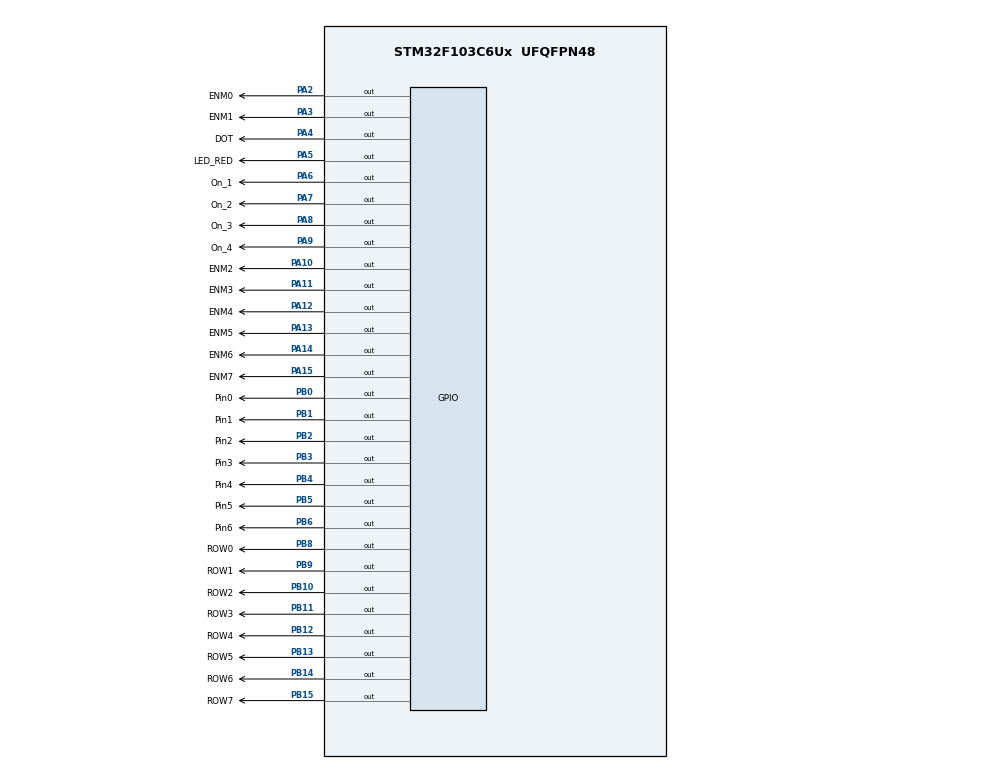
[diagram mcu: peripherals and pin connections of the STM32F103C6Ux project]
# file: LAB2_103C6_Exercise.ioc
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Mcu.Family=STM32F1
Mcu.Name=STM32F103C6Ux
Mcu.Package=UFQFPN48
NVIC.PriorityGroup=NVIC_PRIORITYGROUP_4
NVIC.TIM2_IRQn=true\:0\:0\:false\:false\:true\:true\:true
PA10.GPIO_Label=ENM2
PA10.Signal=GPIO_Output
PA11.GPIO_Label=ENM3
PA11.Signal=GPIO_Output
PA12.GPIO_Label=ENM4
PA12.Signal=GPIO_Output
PA13.GPIO_Label=ENM5
PA13.Signal=GPIO_Output
PA14.GPIO_Label=ENM6
PA14.Signal=GPIO_Output
PA15.GPIO_Label=ENM7
PA15.Signal=GPIO_Output
PA2.GPIO_Label=ENM0
PA2.Signal=GPIO_Output
PA3.GPIO_Label=ENM1
PA3.Signal=GPIO_Output
PA4.GPIO_Label=DOT
PA4.Signal=GPIO_Output
PA5.GPIO_Label=LED_RED
PA5.Signal=GPIO_Output
PA6.GPIO_Label=On_1
PA6.Signal=GPIO_Output
PA7.GPIO_Label=On_2
PA7.Signal=GPIO_Output
PA8.GPIO_Label=On_3
PA8.Signal=GPIO_Output
PA9.GPIO_Label=On_4
PA9.Signal=GPIO_Output
PB0.GPIO_Label=Pin0
PB0.Signal=GPIO_Output
PB1.GPIO_Label=Pin1
PB1.Signal=GPIO_Output
PB10.GPIO_Label=ROW2
PB10.Signal=GPIO_Output
PB11.GPIO_Label=ROW3
PB11.Signal=GPIO_Output
PB12.GPIO_Label=ROW4
PB12.Signal=GPIO_Output
PB13.GPIO_Label=ROW5
PB13.Signal=GPIO_Output
PB14.GPIO_Label=ROW6
PB14.Signal=GPIO_Output
PB15.GPIO_Label=ROW7
PB15.Signal=GPIO_Output
PB2.GPIO_Label=Pin2
PB2.Signal=GPIO_Output
PB3.GPIO_Label=Pin3
PB3.Signal=GPIO_Output
PB4.GPIO_Label=Pin4
PB4.Signal=GPIO_Output
PB5.GPIO_Label=Pin5
PB5.Signal=GPIO_Output
PB6.GPIO_Label=Pin6
PB6.Signal=GPIO_Output
PB8.GPIO_Label=ROW0
PB8.Signal=GPIO_Output
PB9.GPIO_Label=ROW1
PB9.Signal=GPIO_Output
ProjectManager.HeapSize=0x200
ProjectManager.StackSize=0x400
ProjectManager.TargetToolchain=STM32CubeIDE
RCC.APB1Freq_Value=8000000
RCC.APB2Freq_Value=8000000
TIM2.Period=9
TIM2.Prescaler=7999
VP_SYS_VS_ND.Mode=No_Debug
VP_TIM2_VS_ClockSourceINT.Mode=Internal
board=custom

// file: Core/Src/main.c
/* USER CODE BEGIN Header */
/**
  ******************************************************************************
  * @file           : main.c
  * @brief          : Main program body
  ******************************************************************************
  * @attention
  *
  * <h2><center>&copy; Copyright (c) 2023 STMicroelectronics.
  * All rights reserved.</center></h2>
  *
  * This software component is licensed by ST under BSD 3-Clause license,
  * the "License"; You may not use this file except in compliance with the
  * License. You may obtain a copy of the License at:
  *                        opensource.org/licenses/BSD-3-Clause
  *
  ******************************************************************************
  */
/* USER CODE END Header */
#include "main.h"

/* USER CODE BEGIN Includes */
#include "software_timer.h"
/* USER CODE END Includes */

TIM_HandleTypeDef htim2;

void SystemClock_Config(void);
static void MX_GPIO_Init(void);
static void MX_TIM2_Init(void);

/* USER CODE BEGIN 0 */
void display7SEG(int num){
	switch(num){
	case 0:
		HAL_GPIO_WritePin(Pin0_GPIO_Port, Pin0_Pin, RESET);
		HAL_GPIO_WritePin(Pin1_GPIO_Port, Pin1_Pin, RESET);
		HAL_GPIO_WritePin(Pin2_GPIO_Port, Pin2_Pin, RESET);
		HAL_GPIO_WritePin(Pin3_GPIO_Port, Pin3_Pin, RESET);
		HAL_GPIO_WritePin(Pin4_GPIO_Port, Pin4_Pin, RESET);
		HAL_GPIO_WritePin(Pin5_GPIO_Port, Pin5_Pin, RESET);
		HAL_GPIO_WritePin(Pin6_GPIO_Port, Pin6_Pin, SET);
		break;
	case 1:
		HAL_GPIO_WritePin(Pin0_GPIO_Port, Pin0_Pin, SET);
		HAL_GPIO_WritePin(Pin1_GPIO_Port, Pin1_Pin, RESET);
		HAL_GPIO_WritePin(Pin2_GPIO_Port, Pin2_Pin, RESET);
		HAL_GPIO_WritePin(Pin3_GPIO_Port, Pin3_Pin, SET);
		HAL_GPIO_WritePin(Pin4_GPIO_Port, Pin4_Pin, SET);
		HAL_GPIO_WritePin(Pin5_GPIO_Port, Pin5_Pin, SET);
		HAL_GPIO_WritePin(Pin6_GPIO_Port, Pin6_Pin, SET);
		break;
	case 2:
		HAL_GPIO_WritePin(Pin0_GPIO_Port, Pin0_Pin, RESET);
		HAL_GPIO_WritePin(Pin1_GPIO_Port, Pin1_Pin, RESET);
		HAL_GPIO_WritePin(Pin2_GPIO_Port, Pin2_Pin, SET);
		HAL_GPIO_WritePin(Pin3_GPIO_Port, Pin3_Pin, RESET);
		HAL_GPIO_WritePin(Pin4_GPIO_Port, Pin4_Pin, RESET);
		HAL_GPIO_WritePin(Pin5_GPIO_Port, Pin5_Pin, SET);
		HAL_GPIO_WritePin(Pin6_GPIO_Port, Pin6_Pin, RESET);
		break;
	case 3:
		HAL_GPIO_WritePin(Pin0_GPIO_Port, Pin0_Pin, RESET);
		HAL_GPIO_WritePin(Pin1_GPIO_Port, Pin1_Pin, RESET);
		HAL_GPIO_WritePin(Pin2_GPIO_Port, Pin2_Pin, RESET);
		HAL_GPIO_WritePin(Pin3_GPIO_Port, Pin3_Pin, RESET);
		HAL_GPIO_WritePin(Pin4_GPIO_Port, Pin4_Pin, SET);
		HAL_GPIO_WritePin(Pin5_GPIO_Port, Pin5_Pin, SET);
		HAL_GPIO_WritePin(Pin6_GPIO_Port, Pin6_Pin, RESET);
		break;
	case 4:
		HAL_GPIO_WritePin(Pin0_GPIO_Port, Pin0_Pin, SET);
		HAL_GPIO_WritePin(Pin1_GPIO_Port, Pin1_Pin, RESET);
		HAL_GPIO_WritePin(Pin2_GPIO_Port, Pin2_Pin, RESET);
		HAL_GPIO_WritePin(Pin3_GPIO_Port, Pin3_Pin, SET);
		HAL_GPIO_WritePin(Pin4_GPIO_Port, Pin4_Pin, SET);
		HAL_GPIO_WritePin(Pin5_GPIO_Port, Pin5_Pin, RESET);
		HAL_GPIO_WritePin(Pin6_GPIO_Port, Pin6_Pin, RESET);
		break;
	case 5:
		HAL_GPIO_WritePin(Pin0_GPIO_Port, Pin0_Pin, RESET);
		HAL_GPIO_WritePin(Pin1_GPIO_Port, Pin1_Pin, SET);
		HAL_GPIO_WritePin(Pin2_GPIO_Port, Pin2_Pin, RESET);
		HAL_GPIO_WritePin(Pin3_GPIO_Port, Pin3_Pin, RESET);
		HAL_GPIO_WritePin(Pin4_GPIO_Port, Pin4_Pin, SET);
		HAL_GPIO_WritePin(Pin5_GPIO_Port, Pin5_Pin, RESET);
		HAL_GPIO_WritePin(Pin6_GPIO_Port, Pin6_Pin, RESET);
		break;
	case 6:
		HAL_GPIO_WritePin(Pin0_GPIO_Port, Pin0_Pin, RESET);
		HAL_GPIO_WritePin(Pin1_GPIO_Port, Pin1_Pin, SET);
		HAL_GPIO_WritePin(Pin2_GPIO_Port, Pin2_Pin, RESET);
		HAL_GPIO_WritePin(Pin3_GPIO_Port, Pin3_Pin, RESET);
		HAL_GPIO_WritePin(Pin4_GPIO_Port, Pin4_Pin, RESET);
		HAL_GPIO_WritePin(Pin5_GPIO_Port, Pin5_Pin, RESET);
		HAL_GPIO_WritePin(Pin6_GPIO_Port, Pin6_Pin, RESET);
		break;
	case 7:
		HAL_GPIO_WritePin(Pin0_GPIO_Port, Pin0_Pin, RESET);
		HAL_GPIO_WritePin(Pin1_GPIO_Port, Pin1_Pin, RESET);
		HAL_GPIO_WritePin(Pin2_GPIO_Port, Pin2_Pin, RESET);
		HAL_GPIO_WritePin(Pin3_GPIO_Port, Pin3_Pin, SET);
		HAL_GPIO_WritePin(Pin4_GPIO_Port, Pin4_Pin, SET);
		HAL_GPIO_WritePin(Pin5_GPIO_Port, Pin5_Pin, SET);
		HAL_GPIO_WritePin(Pin6_GPIO_Port, Pin6_Pin, SET);
		break;
	case 8:
		HAL_GPIO_WritePin(Pin0_GPIO_Port, Pin0_Pin, RESET);
		HAL_GPIO_WritePin(Pin1_GPIO_Port, Pin1_Pin, RESET);
		HAL_GPIO_WritePin(Pin2_GPIO_Port, Pin2_Pin, RESET);
		HAL_GPIO_WritePin(Pin3_GPIO_Port, Pin3_Pin, RESET);
		HAL_GPIO_WritePin(Pin4_GPIO_Port, Pin4_Pin, RESET);
		HAL_GPIO_WritePin(Pin5_GPIO_Port, Pin5_Pin, RESET);
		HAL_GPIO_WritePin(Pin6_GPIO_Port, Pin6_Pin, RESET);
		break;
	case 9:
		HAL_GPIO_WritePin(Pin0_GPIO_Port, Pin0_Pin, RESET);
		HAL_GPIO_WritePin(Pin1_GPIO_Port, Pin1_Pin, RESET);
		HAL_GPIO_WritePin(Pin2_GPIO_Port, Pin2_Pin, RESET);
		HAL_GPIO_WritePin(Pin3_GPIO_Port, Pin3_Pin, RESET);
		HAL_GPIO_WritePin(Pin4_GPIO_Port, Pin4_Pin, SET);
		HAL_GPIO_WritePin(Pin5_GPIO_Port, Pin5_Pin, RESET);
		HAL_GPIO_WritePin(Pin6_GPIO_Port, Pin6_Pin, RESET);
		break;
	default:
		break;
	}
}
const int MAX_LED=4;
int index_led=0;
int led_buffer[4]={0,0,0,0};
void update7SEG(int index){
	switch(index){
		case 0:
			HAL_GPIO_WritePin(On_1_GPIO_Port, On_1_Pin, RESET);
			HAL_GPIO_WritePin(On_2_GPIO_Port, On_2_Pin, SET);
			HAL_GPIO_WritePin(On_3_GPIO_Port, On_3_Pin, SET);
			HAL_GPIO_WritePin(On_4_GPIO_Port, On_4_Pin, SET);
			break;
		case 1:
			HAL_GPIO_WritePin(On_1_GPIO_Port, On_1_Pin, SET);
			HAL_GPIO_WritePin(On_2_GPIO_Port, On_2_Pin, RESET);
			HAL_GPIO_WritePin(On_3_GPIO_Port, On_3_Pin, SET);
			HAL_GPIO_WritePin(On_4_GPIO_Port, On_4_Pin, SET);
			break;
		case 2:
			HAL_GPIO_WritePin(On_1_GPIO_Port, On_1_Pin, SET);
			HAL_GPIO_WritePin(On_2_GPIO_Port, On_2_Pin, SET);
			HAL_GPIO_WritePin(On_3_GPIO_Port, On_3_Pin, RESET);
			HAL_GPIO_WritePin(On_4_GPIO_Port, On_4_Pin, SET);
			break;
		case 3:
			HAL_GPIO_WritePin(On_1_GPIO_Port, On_1_Pin, SET);
			HAL_GPIO_WritePin(On_2_GPIO_Port, On_2_Pin, SET);
			HAL_GPIO_WritePin(On_3_GPIO_Port, On_3_Pin, SET);
			HAL_GPIO_WritePin(On_4_GPIO_Port, On_4_Pin, RESET);
			break;
		default:
			break;
	}
	display7SEG(led_buffer[index]);
}
void updateClockBuffer(int hour, int minute){
	//Update hour
	if(hour < 10){
		led_buffer[0]=0;
	} else led_buffer[0]=hour/10;
	led_buffer[1]=hour%10;

	//Update minute
	if(minute < 10){
		led_buffer[2]=0;
	} else led_buffer[2]=minute/10;
	led_buffer[3]=minute%10;
}
/* USER CODE END 0 */

int main(void)
{

  /* MCU Configuration--------------------------------------------------------*/

  /* Reset of all peripherals, Initializes the Flash interface and the Systick. */
  HAL_Init();

  /* Configure the system clock */
  SystemClock_Config();

  /* Initialize all configured peripherals */
  MX_GPIO_Init();
  MX_TIM2_Init();
  /* USER CODE BEGIN 2 */
  HAL_TIM_Base_Start_IT(&htim2);
  /* USER CODE END 2 */

  /* Infinite loop */
  /* USER CODE BEGIN WHILE */
  setTimer0(10);
  setTimer1(15);
  setTimer2(100);
  int hour=15, minute=8, second=50;
  while (1)
  {
    /* USER CODE END WHILE */

    /* USER CODE BEGIN 3 */
	  if(timer0_flag == 1){
		  if(second >= 60){
			  second=0;
			  minute++;
		  }
		  if(minute >= 60){
			  minute=0;
			  hour++;
		  }
		  if(hour >= 24){
			  hour=0;
		  }
		  second++;
		  updateClockBuffer(hour, minute);
		  setTimer0(100);
	  }
	  if(timer1_flag == 1){
		  update7SEG(index_led);
		  if(index_led >= 3){
			  index_led=0;
		  } else {
			  index_led++;
		  }
		  setTimer1(10);
	  }
	  if(timer2_flag == 1){
		  HAL_GPIO_TogglePin(DOT_GPIO_Port, DOT_Pin);
		  HAL_GPIO_TogglePin(LED_RED_GPIO_Port, LED_RED_Pin);
		  setTimer2(100);
	  }
  }
  /* USER CODE END 3 */
}

void SystemClock_Config(void)
{
  RCC_OscInitTypeDef RCC_OscInitStruct = {0};
  RCC_ClkInitTypeDef RCC_ClkInitStruct = {0};

  /** Initializes the RCC Oscillators according to the specified parameters
  * in the RCC_OscInitTypeDef structure.
  */
  RCC_OscInitStruct.OscillatorType = RCC_OSCILLATORTYPE_HSI;
  RCC_OscInitStruct.HSIState = RCC_HSI_ON;
  RCC_OscInitStruct.HSICalibrationValue = RCC_HSICALIBRATION_DEFAULT;
  RCC_OscInitStruct.PLL.PLLState = RCC_PLL_NONE;
  if (HAL_RCC_OscConfig(&RCC_OscInitStruct) != HAL_OK)
  {
    Error_Handler();
  }
  /** Initializes the CPU, AHB and APB buses clocks
  */
  RCC_ClkInitStruct.ClockType = RCC_CLOCKTYPE_HCLK|RCC_CLOCKTYPE_SYSCLK
                              |RCC_CLOCKTYPE_PCLK1|RCC_CLOCKTYPE_PCLK2;
  RCC_ClkInitStruct.SYSCLKSource = RCC_SYSCLKSOURCE_HSI;
  RCC_ClkInitStruct.AHBCLKDivider = RCC_SYSCLK_DIV1;
  RCC_ClkInitStruct.APB1CLKDivider = RCC_HCLK_DIV1;
  RCC_ClkInitStruct.APB2CLKDivider = RCC_HCLK_DIV1;

  if (HAL_RCC_ClockConfig(&RCC_ClkInitStruct, FLASH_LATENCY_0) != HAL_OK)
  {
    Error_Handler();
  }
}

static void MX_TIM2_Init(void)
{

  TIM_ClockConfigTypeDef sClockSourceConfig = {0};
  TIM_MasterConfigTypeDef sMasterConfig = {0};

  htim2.Instance = TIM2;
  htim2.Init.Prescaler = 7999;
  htim2.Init.CounterMode = TIM_COUNTERMODE_UP;
  htim2.Init.Period = 9;
  htim2.Init.ClockDivision = TIM_CLOCKDIVISION_DIV1;
  htim2.Init.AutoReloadPreload = TIM_AUTORELOAD_PRELOAD_DISABLE;
  if (HAL_TIM_Base_Init(&htim2) != HAL_OK)
  {
    Error_Handler();
  }
  sClockSourceConfig.ClockSource = TIM_CLOCKSOURCE_INTERNAL;
  if (HAL_TIM_ConfigClockSource(&htim2, &sClockSourceConfig) != HAL_OK)
  {
    Error_Handler();
  }
  sMasterConfig.MasterOutputTrigger = TIM_TRGO_RESET;
  sMasterConfig.MasterSlaveMode = TIM_MASTERSLAVEMODE_DISABLE;
  if (HAL_TIMEx_MasterConfigSynchronization(&htim2, &sMasterConfig) != HAL_OK)
  {
    Error_Handler();
  }

}

static void MX_GPIO_Init(void)
{
  GPIO_InitTypeDef GPIO_InitStruct = {0};

  /* GPIO Ports Clock Enable */
  __HAL_RCC_GPIOA_CLK_ENABLE();
  __HAL_RCC_GPIOB_CLK_ENABLE();

  /*Configure GPIO pin Output Level */
  HAL_GPIO_WritePin(GPIOA, DOT_Pin|LED_RED_Pin|On_1_Pin|On_2_Pin
                          |On_3_Pin|On_4_Pin, GPIO_PIN_RESET);

  /*Configure GPIO pin Output Level */
  HAL_GPIO_WritePin(GPIOB, Pin0_Pin|Pin1_Pin|Pin2_Pin|Pin3_Pin
                          |Pin4_Pin|Pin5_Pin|Pin6_Pin, GPIO_PIN_RESET);

  /*Configure GPIO pins : DOT_Pin LED_RED_Pin On_1_Pin On_2_Pin
                           On_3_Pin On_4_Pin */
  GPIO_InitStruct.Pin = DOT_Pin|LED_RED_Pin|On_1_Pin|On_2_Pin
                          |On_3_Pin|On_4_Pin;
  GPIO_InitStruct.Mode = GPIO_MODE_OUTPUT_PP;
  GPIO_InitStruct.Pull = GPIO_NOPULL;
  GPIO_InitStruct.Speed = GPIO_SPEED_FREQ_LOW;
  HAL_GPIO_Init(GPIOA, &GPIO_InitStruct);

  /*Configure GPIO pins : Pin0_Pin Pin1_Pin Pin2_Pin Pin3_Pin
                           Pin4_Pin Pin5_Pin Pin6_Pin */
  GPIO_InitStruct.Pin = Pin0_Pin|Pin1_Pin|Pin2_Pin|Pin3_Pin
                          |Pin4_Pin|Pin5_Pin|Pin6_Pin;
  GPIO_InitStruct.Mode = GPIO_MODE_OUTPUT_PP;
  GPIO_InitStruct.Pull = GPIO_NOPULL;
  GPIO_InitStruct.Speed = GPIO_SPEED_FREQ_LOW;
  HAL_GPIO_Init(GPIOB, &GPIO_InitStruct);

}

/* USER CODE BEGIN 4 */
void HAL_TIM_PeriodElapsedCallback(TIM_HandleTypeDef *htim){
	timerRun();
}
/* USER CODE END 4 */

void Error_Handler(void)
{
  __disable_irq();
  while (1)
  {
  }
}

/************************ (C) COPYRIGHT STMicroelectronics *****END OF FILE****/
